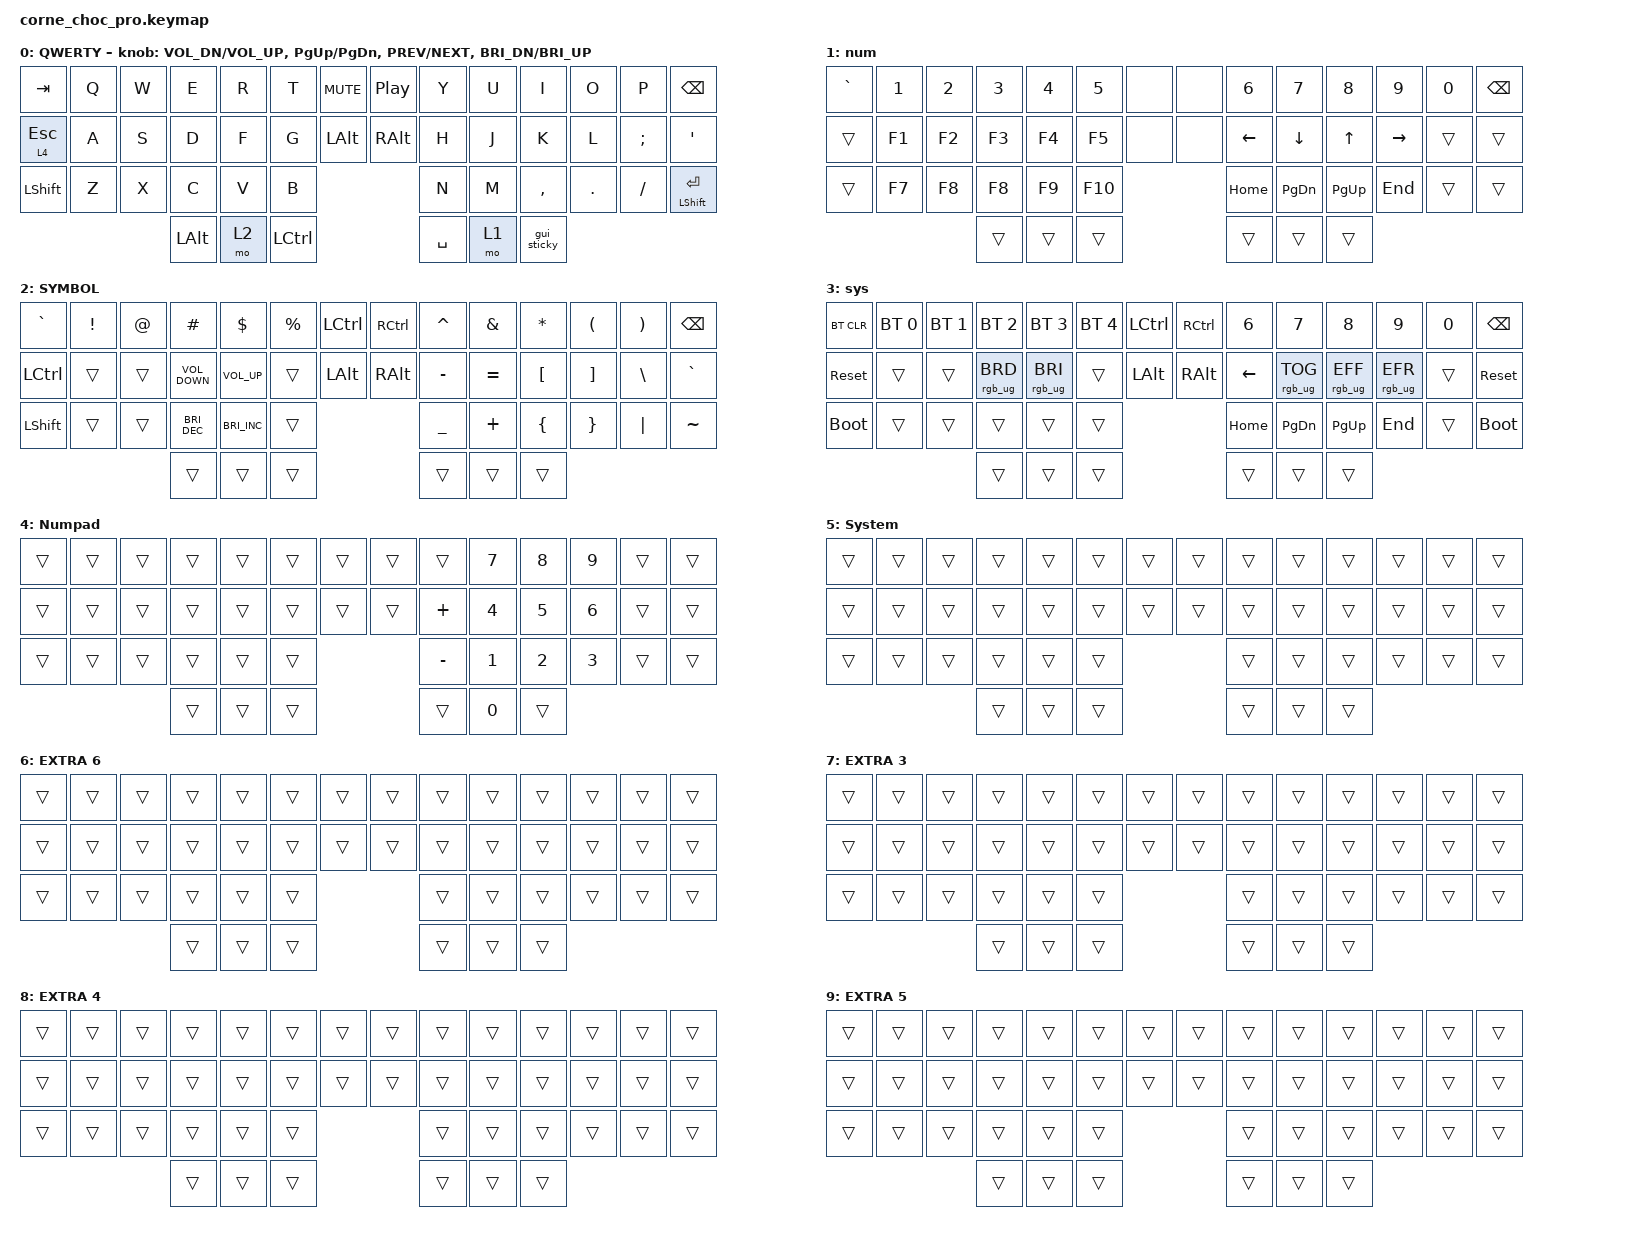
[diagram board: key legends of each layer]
/*
 * Copyright (c) 2020 The ZMK Contributors
 *
 * SPDX-License-Identifier: MIT
 */

#include <behaviors.dtsi>
#include <dt-bindings/zmk/bt.h>
#include <dt-bindings/zmk/keys.h>
#include <dt-bindings/zmk/rgb.h>

&lt { flavor = "hold-preferred"; };

/ {
    chosen { zmk,physical-layout = &default_layout; };
};

/ {
    combos {
        compatible = "zmk,combos";

        enter {
            bindings = <&kp ENTER>;
            key-positions = <24 25>;
        };

        lshift {
            bindings = <&kp LSHIFT>;
            key-positions = <17 18>;
        };

        rshift {
            bindings = <&kp RSHFT>;
            key-positions = <23 24>;
        };

        delete {
            bindings = <&kp DEL>;
            key-positions = <12 13>;
        };

        left_braket {
            bindings = <&kp LEFT_BRACKET>;
            key-positions = <32 31>;
        };

        right_bracket {
            bindings = <&kp RIGHT_BRACKET>;
            key-positions = <35 36>;
        };

        left_bootloader {
            bindings = <&bootloader>;
            key-positions = <0 1 2>;
        };

        right_bootloader {
            bindings = <&bootloader>;
            key-positions = <11 12 13>;
        };
    };

    behaviors {
        gui_sticky: gui_sticky {
            compatible = "zmk,behavior-tap-dance";
            label = "GUI_STICKY";
            #binding-cells = <0>;
            bindings = <&kp LEFT_GUI>, <&sk LEFT_GUI>;

            tapping-term-ms = <180>;
        };
    };

    keymap {
        compatible = "zmk,keymap";

        default_layer {
            display-name = "QWERTY";

            // --------------------------------------------------------------------------------
            // |  TAB |  Q  |  W  |  E  |  R  |  T  |  MUTE |  PP   |  Y  |  U   |  I  |  O  |  P  | BSPC |
            // | CTRL |  A  |  S  |  D  |  F  |  G  |  LALT |  RALT |  H  |  J   |  K  |  L  |  ;  |  '   |
            // | SHFT |  Z  |  X  |  C  |  V  |  B  |               |  N  |  M   |  ,  |  .  |  /  | ESC  |
            //                    | GUI | LWR | SPC |               | ENT | RSE  | ALT |

            bindings = <
&kp TAB       &kp Q  &kp W  &kp E         &kp R  &kp T      &kp C_MUTE  &kp C_PP  &kp Y      &kp U  &kp I        &kp O    &kp P     &kp BSPC
&lt 4 ESCAPE  &kp A  &kp S  &kp D         &kp F  &kp G      &kp LALT    &kp RALT  &kp H      &kp J  &kp K        &kp L    &kp SEMI  &kp SQT
&kp LSHFT     &kp Z  &kp X  &kp C         &kp V  &kp B                            &kp N      &kp M  &kp COMMA    &kp DOT  &kp FSLH  &mt LEFT_SHIFT ENTER
                            &kp LEFT_ALT  &mo 2  &kp LCTRL                        &kp SPACE  &mo 1  &gui_sticky
            >;

            sensor-bindings = <&inc_dec_kp C_VOL_DN C_VOL_UP &inc_dec_kp PG_UP PG_DN &inc_dec_kp C_PREV C_NEXT &inc_dec_kp C_BRI_DN C_BRI_UP>;
        };

        layer_9 {
            display-name = "num";
            bindings = <
&kp GRAVE  &kp N1  &kp N2  &kp N3  &kp N4  &kp N5   &none  &none  &kp N6    &kp N7         &kp N8       &kp N9     &kp N0  &kp BSPC
&trans     &kp F1  &kp F2  &kp F3  &kp F4  &kp F5   &none  &none  &kp LEFT  &kp DOWN       &kp UP       &kp RIGHT  &trans  &trans
&trans     &kp F7  &kp F8  &kp F8  &kp F9  &kp F10                &kp HOME  &kp PAGE_DOWN  &kp PAGE_UP  &kp END    &trans  &trans
                           &trans  &trans  &trans                 &trans    &trans         &trans
            >;
        };

        raise_layer {
            display-name = "SYMBOL";

            // -----------------------------------------------------------------------------------------
            // |  TAB |  !  |  @  |  #  |  $  |  %  | LCTRL | RCTRL |  ^  |  &  |  *  |  (  |  )  | BSPC |
            // | CTRL |     |     |     |     |     |  LALT | RALT  |  -  |  =  |  [  |  ]  |  \  |  `   |
            // | SHFT |     |     |     |     |     |               |  _  |  +  |  {  |  }  | "|" |  ~   |
            //                    | GUI |     | SPC |               | ENT |     | ALT |

            bindings = <
&kp GRAVE  &kp EXCL  &kp AT  &kp HASH              &kp DLLR              &kp PRCNT  &kp LCTRL  &kp RCTRL  &kp CARET  &kp AMPS   &kp ASTRK  &kp LPAR  &kp RPAR  &kp BSPC
&kp LCTRL  &trans    &trans  &kp C_VOLUME_DOWN     &kp C_VOLUME_UP       &trans     &kp LALT   &kp RALT   &kp MINUS  &kp EQUAL  &kp LBKT   &kp RBKT  &kp BSLH  &kp GRAVE
&kp LSHFT  &trans    &trans  &kp C_BRIGHTNESS_DEC  &kp C_BRIGHTNESS_INC  &trans                           &kp UNDER  &kp PLUS   &kp LBRC   &kp RBRC  &kp PIPE  &kp TILDE
                             &trans                &trans                &trans                           &trans     &trans     &trans
            >;
        };

        lower_layer {
            display-name = "sys";

            // -----------------------------------------------------------------------------------------
            // |  TAB |  1  |  2  |  3  |  4  |  5    |  LCTRL | RCTRL |  6  |  7  |  8  |  9  |  0  | BSPC |
            // | CTRL | BT1 | BT2 | BT3 | BT4 | BT5   |  LALT  | RALT  | LFT | DWN |  UP | RGT |     |      |
            // | SHFT | BTCR| RGB | RST | BOOT| Unlock|        |       |     |     |     |     |     |      |
            //                    | GUI |     | SPC   |        | ENT   |     | ALT |

            bindings = <
&bt BT_CLR   &bt BT_SEL 0  &bt BT_SEL 1  &bt BT_SEL 2     &bt BT_SEL 3     &bt BT_SEL 4  &kp LCTRL  &kp RCTRL  &kp N6    &kp N7           &kp N8           &kp N9           &kp N0  &kp BSPC
&sys_reset   &trans        &trans        &rgb_ug RGB_BRD  &rgb_ug RGB_BRI  &trans        &kp LALT   &kp RALT   &kp LEFT  &rgb_ug RGB_TOG  &rgb_ug RGB_EFF  &rgb_ug RGB_EFR  &trans  &sys_reset
&bootloader  &trans        &trans        &trans           &trans           &trans                              &kp HOME  &kp PAGE_DOWN    &kp PAGE_UP      &kp END          &trans  &bootloader
                                         &trans           &trans           &trans                              &trans    &trans           &trans
            >;
        };

        extra_layer_2 {
            display-name = "Numpad";
            bindings = <
&trans  &trans  &trans  &trans  &trans  &trans  &trans  &trans  &trans     &kp N7        &kp N8        &kp N9        &trans  &trans
&trans  &trans  &trans  &trans  &trans  &trans  &trans  &trans  &kp PLUS   &kp NUMBER_4  &kp N5        &kp NUMBER_6  &trans  &trans
&trans  &trans  &trans  &trans  &trans  &trans                  &kp MINUS  &kp NUMBER_1  &kp NUMBER_2  &kp NUMBER_3  &trans  &trans
                        &trans  &trans  &trans                  &trans     &kp NUMBER_0  &trans
            >;
        };

        extra_layer_1 {
            display-name = "System";
            bindings = <
&trans  &trans  &trans  &trans  &trans  &trans  &trans  &trans  &trans  &trans  &trans  &trans  &trans  &trans
&trans  &trans  &trans  &trans  &trans  &trans  &trans  &trans  &trans  &trans  &trans  &trans  &trans  &trans
&trans  &trans  &trans  &trans  &trans  &trans                  &trans  &trans  &trans  &trans  &trans  &trans
                        &trans  &trans  &trans                  &trans  &trans  &trans
            >;
        };

        extra_layer_6 {
            display-name = "EXTRA 6";
            bindings = <
&trans  &trans  &trans  &trans  &trans  &trans  &trans  &trans  &trans  &trans  &trans  &trans  &trans  &trans
&trans  &trans  &trans  &trans  &trans  &trans  &trans  &trans  &trans  &trans  &trans  &trans  &trans  &trans
&trans  &trans  &trans  &trans  &trans  &trans                  &trans  &trans  &trans  &trans  &trans  &trans
                        &trans  &trans  &trans                  &trans  &trans  &trans
            >;
        };

        extra_layer_3 {
            display-name = "EXTRA 3";
            bindings = <
&trans  &trans  &trans  &trans  &trans  &trans  &trans  &trans  &trans  &trans  &trans  &trans  &trans  &trans
&trans  &trans  &trans  &trans  &trans  &trans  &trans  &trans  &trans  &trans  &trans  &trans  &trans  &trans
&trans  &trans  &trans  &trans  &trans  &trans                  &trans  &trans  &trans  &trans  &trans  &trans
                        &trans  &trans  &trans                  &trans  &trans  &trans
            >;
        };

        extra_layer_4 {
            display-name = "EXTRA 4";
            bindings = <
&trans  &trans  &trans  &trans  &trans  &trans  &trans  &trans  &trans  &trans  &trans  &trans  &trans  &trans
&trans  &trans  &trans  &trans  &trans  &trans  &trans  &trans  &trans  &trans  &trans  &trans  &trans  &trans
&trans  &trans  &trans  &trans  &trans  &trans                  &trans  &trans  &trans  &trans  &trans  &trans
                        &trans  &trans  &trans                  &trans  &trans  &trans
            >;
        };

        extra_layer_5 {
            display-name = "EXTRA 5";
            bindings = <
&trans  &trans  &trans  &trans  &trans  &trans  &trans  &trans  &trans  &trans  &trans  &trans  &trans  &trans
&trans  &trans  &trans  &trans  &trans  &trans  &trans  &trans  &trans  &trans  &trans  &trans  &trans  &trans
&trans  &trans  &trans  &trans  &trans  &trans                  &trans  &trans  &trans  &trans  &trans  &trans
                        &trans  &trans  &trans                  &trans  &trans  &trans
            >;
        };
    };

    conditional_layers {
        compatible = "zmk,conditional-layers";

        sys {
            if-layers = <1 2>;
            then-layer = <3>;
        };
    };
};
